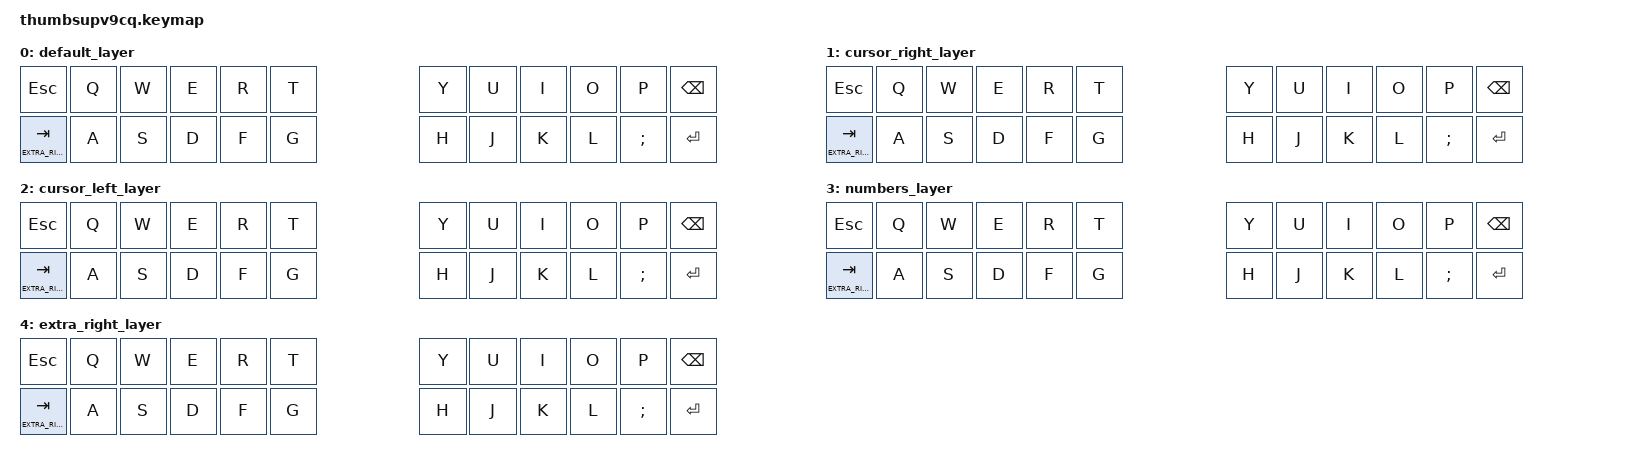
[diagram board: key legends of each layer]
#include <behaviors.dtsi>
#include <dt-bindings/zmk/keys.h>
#include <dt-bindings/zmk/bt.h>
//#include <dt-bindings/zmk/ext_power.h>
#include <dt-bindings/zmk/outputs.h>
#include <input/processors.dtsi>
#include <dt-bindings/zmk/pointing.h>

#define DEFAULT 0
#define CURSOR_RIGHT 1
#define CURSOR_LEFT 2
#define NUMBERS_FKEYS 3
#define EXTRA_RIGHT 4

// Mouse speed increased
#define ZMK_POINTING_DEFAULT_MOVE_VAL 1200  // default: 600
#define ZMK_POINTING_DEFAULT_SCRL_VAL 17    // default: 10

&glidepoint_listener {
    scroller {
        layers = <DEFAULT>;
        input-processors = <&zip_xy_to_scroll_mapper>, <&zip_scroll_scaler 1 5>;
    };
};

/ {
    keymap {
        compatible = "zmk,keymap";

        default_layer {
// | ESC  | Q | W | E | R | T |       | Y | U | I | O | P | BKSPC |
// | TAB  | A | S | D | F | G |       | H | J | K | L | ; | ENTER |
// | LCTR | Z | X | C | V | B |       | N | M | , | . | / | RCTR  | 
//            |WIN|ALT|RSE|SFT|SPC|SPC|SFT|LOW|ALT|MNU|

            bindings = <
    &kp ESC                &kp Q    &kp W    &kp E     &kp R      &kp T                                         &kp Y            &kp U            &kp I     &kp O     &kp P    &kp BSPC
    &lt EXTRA_RIGHT TAB    &kp A    &kp S    &kp D     &kp F      &kp G                                         &kp H            &kp J            &kp K     &kp L     &kp SEMI &kp RET
//    &kp LCTRL              &kp Z    &kp X    &kp C     &kp V      &kp B                                         &kp N            &kp M            &kp COMMA &kp DOT   &kp FSLH &kp RCTRL
//                                    &kp LGUI &kp LALT  &kp LSHIFT &lt CURSOR_LEFT SPACE &kp SPACE &kp SPACE  &lt CURSOR_RIGHT SPACE &kp RSHIFT    &kp RALT  &kp K_APP
            >;
        };

        cursor_right_layer {

// Cursor Control on the right (Right Space)
// ,------------------------------------------------------------------------------------.
// | Esc  |Break |WheelD|MousUp|WheelU| PgUp || PgUp | Home |  Up  | End  |   `  | Del  |
// |------+------+------+------+------+-------+------+------+------+------+------+------|
// |      |SelAll|MousLt|MousDn|MousRt| PgDn || PgDn | Left | Down |Right | ...  |      |
// |------+------+------+------+------+------|+------+------+------+------+------+------|
// |      | Undo | Cut  | Copy | Paste| Del  ||  Ins |MsBtLe|MsBtMi|MsBtRt| ...  |      |
// `------+------+------+------+------+------++------+------+------+------+------+------.
//               |      |      |      |      ||   X  |      |      |      |
//               +------+------+------+------++------+------+------+------+

            bindings = <
    &kp ESC                &kp Q    &kp W    &kp E     &kp R      &kp T                                         &kp Y            &kp U            &kp I     &kp O     &kp P    &kp BSPC
    &lt EXTRA_RIGHT TAB    &kp A    &kp S    &kp D     &kp F      &kp G                                         &kp H            &kp J            &kp K     &kp L     &kp SEMI &kp RET
//    &kp LCTRL              &kp Z    &kp X    &kp C     &kp V      &kp B                                         &kp N            &kp M            &kp COMMA &kp DOT   &kp FSLH &kp RCTRL
//                                    &kp LGUI &kp LALT  &kp LSHIFT &lt CURSOR_LEFT SPACE &kp SPACE &kp SPACE  &lt CURSOR_RIGHT SPACE &kp RSHIFT    &kp RALT  &kp K_APP
           >;
        };

        cursor_left_layer {
// Cursor Control on the left (Left Space)
// ,------------------------------------------------------------------------------------.
// |  Esc |Break | Home |  Up  | End  | PgUp || PgUp |WheelU|MousUp|WheelD|   `  | Del  |
// |------+------+------+------+------+------++-------------+------+------+------+------|
// | Enter|SelAll|Right | Down | Left | PgDn || PgDn |MousLt|MousDn|MousRt| xxx  |Enter |
// |------+------+------+------+------+------++------|------+------+------+------+------|
// |      | xxx  |MsBtRt|MsBtMi|MsBtLe| Del  || Ins  | Cut  | Copy | Paste| xxx  |      |
// `------+------+------+------+------+------++------+------+------+------+------+------.
//               |      |      |      |   X  ||      |      |      |      |
//               +------+------+------+------++------+------+------+------+

            bindings = <
    &kp ESC                &kp Q    &kp W    &kp E     &kp R      &kp T                                         &kp Y            &kp U            &kp I     &kp O     &kp P    &kp BSPC
    &lt EXTRA_RIGHT TAB    &kp A    &kp S    &kp D     &kp F      &kp G                                         &kp H            &kp J            &kp K     &kp L     &kp SEMI &kp RET
//    &kp LCTRL              &kp Z    &kp X    &kp C     &kp V      &kp B                                         &kp N            &kp M            &kp COMMA &kp DOT   &kp FSLH &kp RCTRL
//                                    &kp LGUI &kp LALT  &kp LSHIFT &lt CURSOR_LEFT SPACE &kp SPACE &kp SPACE  &lt CURSOR_RIGHT SPACE &kp RSHIFT    &kp RALT  &kp K_APP
            >;
        };

        numbers_layer {
// Numbers on the home row, FNs on the top row, symbols in the second row
// (Lower or Raise)
// ,------------------------------------------------------------------------------------.
// | Esc  |   1  |   2  |   3  |   4  |   5  ||   6  |   7  |   8  |   9  |   0  |BackSp|
// |------+------+------+------+------+------||------+------+------+------+------+------|
// |      |   F1 |   F2 |   F3 |   F4 |   F5 ||   F6 |   F7 |   F8 |   F9 |   F10| Enter|
// |------+------+------+------+------+--------------+------+------+------+------+------|
// |      |  F11 |  F12 | LAlt |  xxx | xxx  || xxx  |  xxx |   ,  |   .  |   /  |      |
// `------+------+------+------+------+------++------+------+------+------+------+------.
//               |      |      |      |      ||      |      |      |      |
//               +------+------+------+------++------+------+------+------+

            bindings = <
    &kp ESC                &kp Q    &kp W    &kp E     &kp R      &kp T                                         &kp Y            &kp U            &kp I     &kp O     &kp P    &kp BSPC
    &lt EXTRA_RIGHT TAB    &kp A    &kp S    &kp D     &kp F      &kp G                                         &kp H            &kp J            &kp K     &kp L     &kp SEMI &kp RET
//    &kp LCTRL              &kp Z    &kp X    &kp C     &kp V      &kp B                                         &kp N            &kp M            &kp COMMA &kp DOT   &kp FSLH &kp RCTRL
//                                    &kp LGUI &kp LALT  &kp LSHIFT &lt CURSOR_LEFT SPACE &kp SPACE &kp SPACE  &lt CURSOR_RIGHT SPACE &kp RSHIFT    &kp RALT  &kp K_APP
            >;
        };

        extra_right_layer {
// ExtraRightSide (the keys from the right side which did not fit into the matrix)
// ,-----------------------------------------------------------------------------------.
// | Esc  |   `  |Prof.0|Prof.1|Prof.2|Prof.3|   `  |   =  |   (  |   )  |   -  |      |
// |------+------+------+------+------+-------------+------+------+------+------+------|
// |******|      |      |      |      |      |      |      |      |      |  '   |      |
// This is the           Clear
// key turning           Current
// this layer on         Profile
// |------+------+------+------+------+------|------+------+------+------+------+------|
// |      |      |      |      |      |      |      |      |   [  |   ]  |  \   |      |
// `------+------+------+------+------+------+------+------+------+------+------+------.
//               |      |      |      |      |      |      |      |      |
//               +------+------+------+------+------+------+------+------+

            bindings = <
    &kp ESC                &kp Q    &kp W    &kp E     &kp R      &kp T                                         &kp Y            &kp U            &kp I     &kp O     &kp P    &kp BSPC
    &lt EXTRA_RIGHT TAB    &kp A    &kp S    &kp D     &kp F      &kp G                                         &kp H            &kp J            &kp K     &kp L     &kp SEMI &kp RET
//    &kp LCTRL              &kp Z    &kp X    &kp C     &kp V      &kp B                                         &kp N            &kp M            &kp COMMA &kp DOT   &kp FSLH &kp RCTRL
//                                    &kp LGUI &kp LALT  &kp LSHIFT &lt CURSOR_LEFT SPACE &kp SPACE &kp SPACE  &lt CURSOR_RIGHT SPACE &kp RSHIFT    &kp RALT  &kp K_APP
            >;
        };
    };

    conditional_layers {
        compatible = "zmk,conditional-layers";
        tri_layer {
            if-layers = <CURSOR_RIGHT CURSOR_LEFT>;
            then-layer = <NUMBERS_FKEYS>;
        };
    };

};
    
